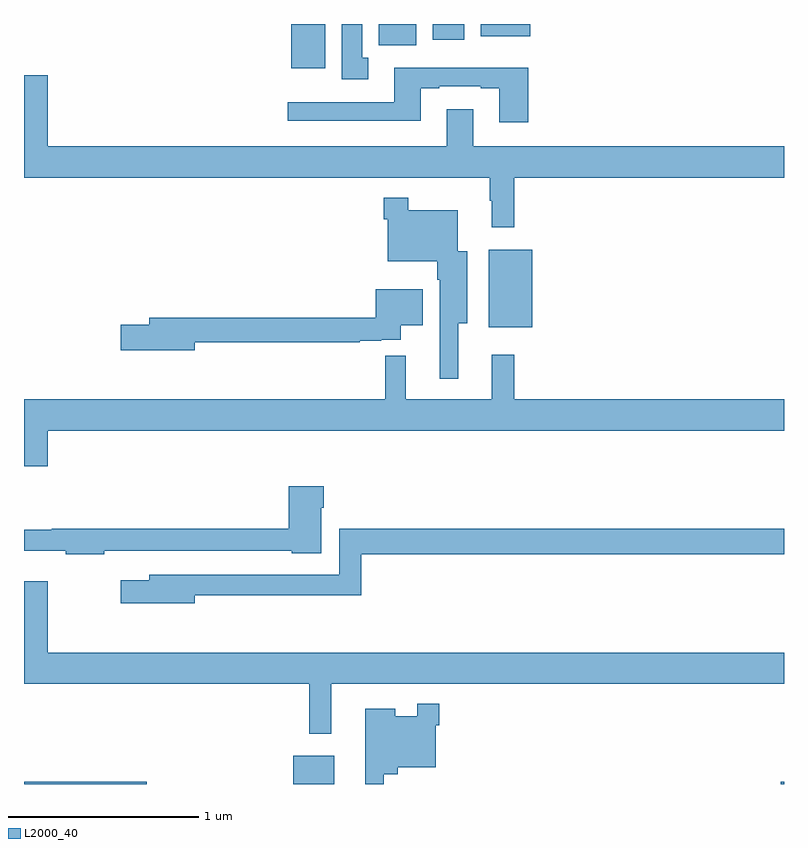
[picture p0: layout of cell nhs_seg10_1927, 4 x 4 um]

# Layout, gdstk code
import gdstk
lib = gdstk.Library(unit=1e-6, precision=1e-09)
def R(c, l, rs):  # rectangles x0, y0, x1, y1
    for r in rs: c.add(gdstk.rectangle(r[:2], r[2:], *l))
def P(c, l, *ps):  # polygons
    for p in ps: c.add(gdstk.Polygon(p, *l))
L2000_40 = (2000, 40)

nhs_seg10_1927 = lib.new_cell('nhs_seg10_1927')
R(nhs_seg10_1927, L2000_40, [(213,1254.5,213.646,1254.512), (214.418,1254.5,214.633,1254.649), (216.982,1254.5,217,1254.512), (215.447,1256.903,215.674,1257.313), (214.406,1258.268,214.585,1258.5), (214.868,1258.388,215.065,1258.5), (215.15,1258.416,215.317,1258.5), (215.405,1258.436,215.664,1258.5)])
P(nhs_seg10_1927, L2000_40, [(214.813,1258.322),(214.78,1258.322),(214.78,1258.5),(214.673,1258.5),(214.673,1258.209),(214.813,1258.209)],
  [(215.654,1258.27),(214.949,1258.27),(214.949,1258.089),(214.389,1258.089),(214.389,1257.992),(215.089,1257.992),(215.089,1258.161),(215.185,1258.161),(215.185,1258.173),(215.405,1258.173),(215.405,1258.161),(215.501,1258.161),(215.501,1257.984),(215.654,1257.984)],
  [(215.579,1257.692),(217,1257.692),(217,1257.856),(215.365,1257.856),(215.365,1258.051),(215.225,1258.051),(215.225,1257.856),(213.124,1257.856),(213.124,1258.231),(213,1258.231),(213,1257.692),(215.451,1257.692),(215.451,1257.569),(215.462,1257.569),(215.462,1257.429),(215.579,1257.429)],
  [(215.285,1256.924),(215.332,1256.924),(215.332,1257.304),(215.284,1257.304),(215.284,1257.52),(215.023,1257.52),(215.023,1257.586),(214.894,1257.586),(214.894,1257.473),(214.914,1257.473),(214.914,1257.251),(215.175,1257.251),(215.175,1257.155),(215.187,1257.155),(215.187,1256.634),(215.285,1256.634)],
  [(213.898,1256.826),(214.766,1256.826),(214.766,1256.832),(214.88,1256.832),(214.88,1256.838),(214.984,1256.838),(214.984,1256.915),(215.098,1256.915),(215.098,1257.103),(214.85,1257.103),(214.85,1256.954),(213.659,1256.954),(213.659,1256.918),(213.51,1256.918),(213.51,1256.783),(213.898,1256.783)],
  [(213.124,1256.36),(217,1256.36),(217,1256.524),(215.579,1256.524),(215.579,1256.758),(215.462,1256.758),(215.462,1256.524),(215.009,1256.524),(215.009,1256.753),(214.9,1256.753),(214.9,1256.524),(213,1256.524),(213,1256.172),(213.124,1256.172)],
  [(213.422,1255.728),(214.41,1255.728),(214.41,1255.715),(214.564,1255.715),(214.564,1255.955),(214.577,1255.955),(214.577,1256.068),(214.394,1256.068),(214.394,1255.844),(213.146,1255.844),(213.146,1255.837),(213,1255.837),(213,1255.727),(213.22,1255.727),(213.22,1255.708),(213.422,1255.708)],
  [(213.898,1255.494),(214.775,1255.494),(214.775,1255.708),(217,1255.708),(217,1255.844),(214.659,1255.844),(214.659,1255.602),(213.659,1255.602),(213.659,1255.573),(213.51,1255.573),(213.51,1255.451),(213.898,1255.451)],
  [(214.618,1255.028),(217,1255.028),(217,1255.192),(213.124,1255.192),(213.124,1255.567),(213,1255.567),(213,1255.028),(214.501,1255.028),(214.501,1254.765),(214.618,1254.765)],
  [(214.893,1254.551),(214.967,1254.551),(214.967,1254.587),(215.166,1254.587),(215.166,1254.809),(215.186,1254.809),(215.186,1254.922),(215.07,1254.922),(215.07,1254.856),(214.954,1254.856),(214.954,1254.895),(214.796,1254.895),(214.796,1254.5),(214.893,1254.5)])

lib.write_gds('nhs_seg10_1927.gds')
